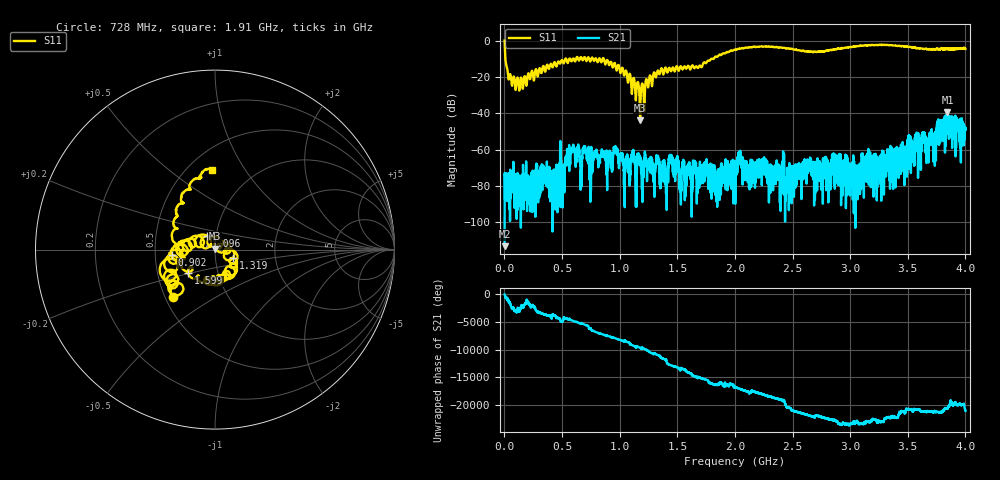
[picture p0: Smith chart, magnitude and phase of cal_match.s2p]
!Created with skrf (http://scikit-rf.org).
# GHz S RI R 50.0
!freq ReS11 ImS11 ReS21 ImS21 ReS12 ImS12 ReS22 ImS22
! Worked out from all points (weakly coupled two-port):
!   4000 points, 1 MHz to 4 GHz, reference 50 ohm
!   highest |S21| = -39.44 dB at 3.844 GHz (marker M1); lowest = -113.1 dB at 1 MHz (marker M2)
!   lowest |S11| = -43.9 dB at 1.177 GHz (marker M3), VSWR 1.01, Z = 50.2 + j0.613 ohm
!   |S11| at or under -10 dB: 7.985 MHz to 527.6 MHz (519.6 MHz wide, 194 % of centre); 536.1 MHz to 561.8 MHz (25.64 MHz wide, 4.67 % of centre); 862.3 MHz to 1.793 GHz (930.4 MHz wide, 70.1 % of centre) (the widest 3 of 13)
!   S12 and S22 are empty: the file has one direction only
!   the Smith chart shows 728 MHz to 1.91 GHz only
!   S11 on the Smith chart (normalised r, x): 728 MHz: 0.55, -0.33; 902 MHz: 0.61, -0.04; 1.096 GHz: 0.90, +0.14; 1.319 GHz: 1.22, -0.12; 1.599 GHz: 0.72, -0.20; 1.91 GHz: 0.65, +0.72
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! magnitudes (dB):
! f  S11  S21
! 1 MHz  0.2  -113.1
! 48 MHz  -18.4  -99.3
! 112 MHz  -20.3  -82.6
! 430 MHz  -12.1  -73.6
! 591 MHz  -10.1  -60.2
! 668 MHz  -9.3  -74.6
! 728 MHz  -9.1  -64.1
! 902 MHz  -12.3  -63.0
! 964 MHz  -13.8  -58.7
! 1.096 GHz  -21.0  -65.8
! 1.177 GHz  -43.9  -65.9
! 1.319 GHz  -18.9  -63.0
! 1.334 GHz  -16.7  -65.8
! 1.599 GHz  -14.0  -68.1
! 1.91 GHz  -7.1  -76.2
! 2.001 GHz  -4.9  -66.1
! 2.043 GHz  -4.4  -62.3
! 2.448 GHz  -4.2  -75.3
! 2.667 GHz  -6.0  -67.7
! 3.334 GHz  -2.4  -68.2
! 3.844 GHz  -4.4  -39.4
! 4 GHz  -4.4  -48.3
